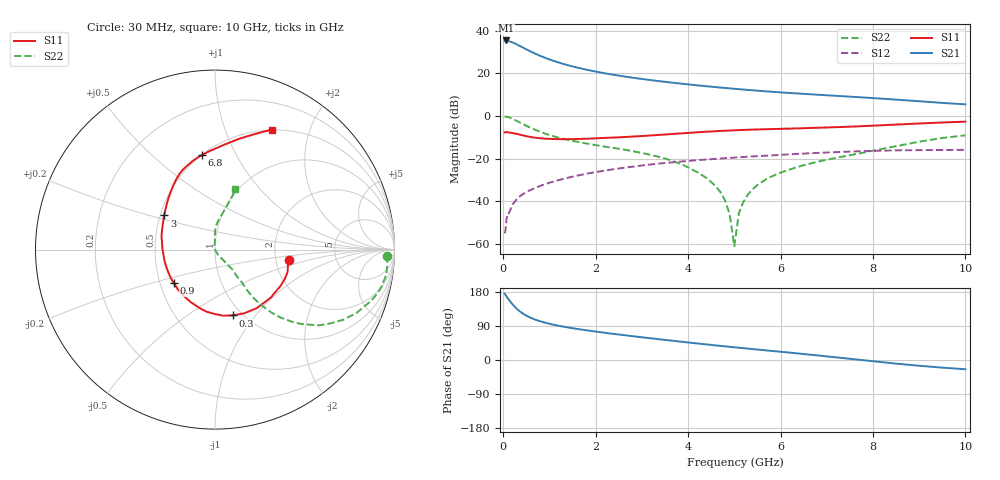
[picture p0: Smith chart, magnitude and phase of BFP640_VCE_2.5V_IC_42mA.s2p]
! (c) 2013  Infineon Technologies AG, Munich
! Infineon Technologies  Discrete & RF Semiconductors
! BFP640
! VCE =  2.5 V,  IC =  42 mA
! Common Emitter S-Parameters:  Apr 2013
# GHz  S  MA  R  50
!  f  S11  S21  S12  S22
! GHz  MAG  ANG  MAG  ANG  MAG  ANG  MAG  ANG
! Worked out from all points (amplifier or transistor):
!   99 points, 30 MHz to 10 GHz, reference 50 ohm
!   highest |S21| = 35.4 dB at 60 MHz (marker M1)
!   |S21| within 3 dB of that: start of sweep to 399.3 MHz
!   unconditionally stable (mu >= 1): 1.759 GHz to end of sweep
!   at 350 MHz: K = 0.45, MSG = 35.3 dB, |S12| = -37.7 dB
!   at 3.5 GHz: K = 1.06, MAG = 17.5 dB, |S12| = -22.0 dB
!   at 10 GHz: K = 1.06, MAG = 9.1 dB, |S12| = -15.8 dB
!   S11 on the Smith chart (normalised r, x): 30 MHz: 2.35, -0.34; 300 MHz: 0.91, -0.78; 900 MHz: 0.59, -0.24; 3 GHz: 0.53, +0.23; 6.8 GHz: 0.50, +0.74; 10 GHz: 0.50, +1.46
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0.03  0.4141 -8.3  57.81 175.0  0.0018 102.7  0.9574 -2.0
0.06  0.4231 -17.0  58.86 169.8  0.0029 103.8  0.9644 -6.4
0.12  0.4115 -34.7  56.5 159.4  0.0053 81.3  0.937 -14.9
0.2  0.4006 -54.6  52.86 147.1  0.0085 75.9  0.8643 -24.1
0.25  0.3904 -65.3  50.25 140.4  0.0098 70.0  0.8143 -28.7
0.3  0.3806 -74.7  47.26 134.4  0.0118 70.6  0.7631 -32.6
0.35  0.3701 -83.5  44.08 129.2  0.013 69.1  0.7177 -36.0
0.45  0.3493 -97.6  38.85 120.6  0.0154 66.4  0.6321 -40.9
0.6  0.3224 -114.9  32.24 111.1  0.0187 65.5  0.526 -46.0
0.7  0.3107 -124.7  28.59 106.2  0.0211 64.4  0.4739 -48.0
0.9  0.2965 -140.6  23.23 98.6  0.0255 64.5  0.3912 -50.4
1.2  0.2884 -158.9  17.9 90.3  0.0317 63.3  0.3117 -51.7
1.7  0.2926 179.6  12.88 80.2  0.0423 60.7  0.238 -50.6
3  0.341 146.1  7.388 60.0  0.0697 50.8  0.1361 -49.1
3.4  0.3641 138.3  6.519 54.4  0.0778 47.4  0.1082 -50.5
4.6  0.4427 119.8  4.757 38.5  0.0997 36.7  0.0226 -60.2
5  0.465 115.3  4.352 33.6  0.1066 33.1  0.0009 39.0
5.1  0.4697 114.2  4.257 32.4  0.1084 32.3  0.0054 94.8
6.7  0.5283 99.0  3.211 13.3  0.1355 17.9  0.0803 90.1
6.8  0.5321 97.8  3.16 12.1  0.1371 16.9  0.0851 90.0
8.5  0.632 77.7  2.426 -9.5  0.1573 -0.4  0.1974 79.0
10  0.7396 64.7  1.878 -24.3  0.1615 -12.3  0.3539 71.4
